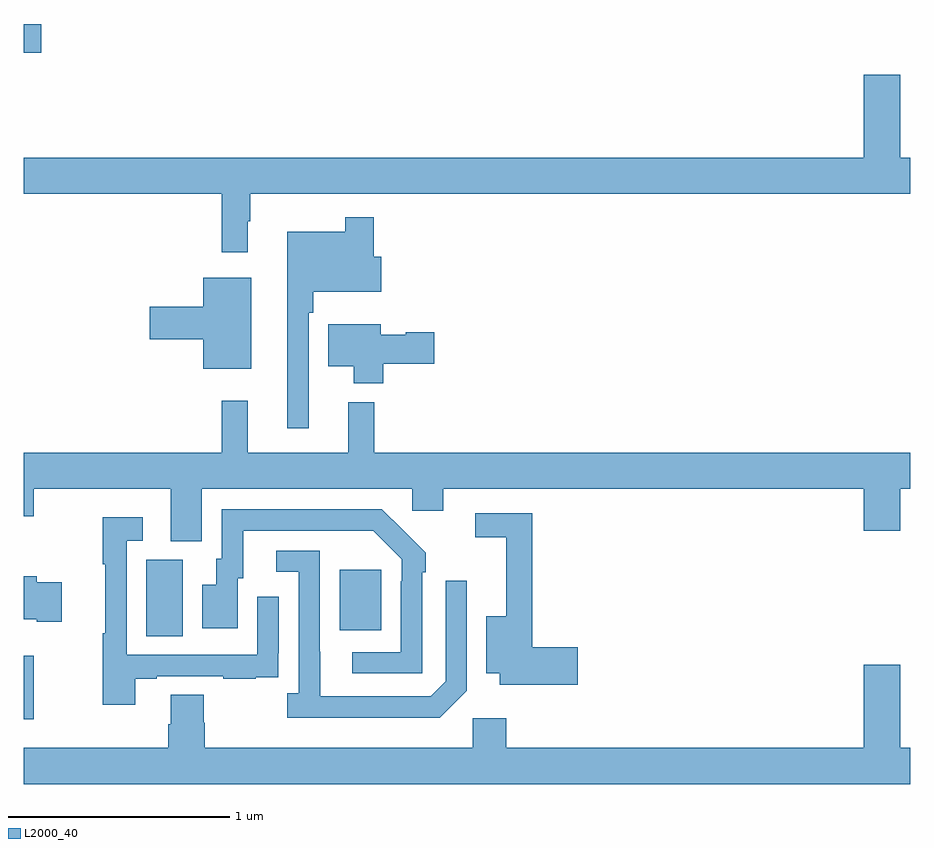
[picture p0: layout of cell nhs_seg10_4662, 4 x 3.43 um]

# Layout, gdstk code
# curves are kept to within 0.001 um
import gdstk
lib = gdstk.Library(unit=1e-6, precision=1e-09)
def R(c, l, rs):  # rectangles x0, y0, x1, y1
    for r in rs: c.add(gdstk.rectangle(r[:2], r[2:], *l))
def P(c, l, *ps):  # polygons
    for p in ps: c.add(gdstk.Polygon(p, *l))
L2000_40 = (2000, 40)

nhs_seg10_4662 = lib.new_cell('nhs_seg10_4662')
R(nhs_seg10_4662, L2000_40, [(377,1319.256,377.043,1319.542), (377.552,1319.632,377.716,1319.976), (378.425,1319.657,378.613,1319.932), (377,1322.266,377.077,1322.395)])
P(nhs_seg10_4662, L2000_40, [(378.01,1321.505),(378.022,1321.505),(378.022,1321.628),(381,1321.628),(381,1321.792),(380.956,1321.792),(380.956,1322.167),(380.792,1322.167),(380.792,1321.792),(377,1321.792),(377,1321.628),(377.893,1321.628),(377.893,1321.365),(378.01,1321.365)],
  [(378.285,1321.091),(378.305,1321.091),(378.305,1321.187),(378.613,1321.187),(378.613,1321.345),(378.578,1321.345),(378.578,1321.522),(378.45,1321.522),(378.45,1321.456),(378.188,1321.456),(378.188,1320.57),(378.285,1320.57)],
  [(378.025,1321.249),(377.81,1321.249),(377.81,1321.118),(377.568,1321.118),(377.568,1320.971),(377.81,1320.971),(377.81,1320.839),(378.025,1320.839)],
  [(378.623,1320.862),(378.853,1320.862),(378.853,1321.004),(378.723,1321.004),(378.723,1320.991),(378.61,1320.991),(378.61,1321.039),(378.374,1321.039),(378.374,1320.851),(378.488,1320.851),(378.488,1320.773),(378.623,1320.773)],
  [(377.803,1320.296),(378.753,1320.296),(378.753,1320.198),(378.892,1320.198),(378.892,1320.296),(380.792,1320.296),(380.792,1320.108),(380.956,1320.108),(380.956,1320.296),(381,1320.296),(381,1320.46),(378.581,1320.46),(378.581,1320.688),(378.464,1320.688),(378.464,1320.46),(378.011,1320.46),(378.011,1320.694),(377.893,1320.694),(377.893,1320.46),(377,1320.46),(377,1320.172),(377.043,1320.172),(377.043,1320.296),(377.663,1320.296),(377.663,1320.061),(377.803,1320.061)],
  [(378.798,1319.921),(378.813,1319.921),(378.813,1320.009),(378.616,1320.204),(377.892,1320.204),(377.892,1319.982),(377.867,1319.982),(377.867,1319.863),(377.804,1319.863),(377.804,1319.667),(377.965,1319.667),(377.965,1319.892),(377.989,1319.892),(377.989,1320.108),(378.577,1320.108),(378.705,1319.979),(378.705,1319.879),(378.702,1319.879),(378.702,1319.559),(378.483,1319.559),(378.483,1319.463),(378.798,1319.463)],
  [(379.501,1319.582),(379.295,1319.582),(379.295,1320.186),(379.038,1320.186),(379.038,1320.078),(379.178,1320.078),(379.178,1319.722),(379.088,1319.722),(379.088,1319.465),(379.148,1319.465),(379.148,1319.411),(379.501,1319.411)],
  [(377.503,1319.439),(377.599,1319.439),(377.599,1319.451),(377.899,1319.451),(377.899,1319.439),(378.047,1319.439),(378.047,1319.445),(378.149,1319.445),(378.149,1319.554),(378.15,1319.554),(378.15,1319.809),(378.054,1319.809),(378.054,1319.547),(377.463,1319.547),(377.463,1320.063),(377.536,1320.063),(377.536,1320.169),(377.355,1320.169),(377.355,1319.956),(377.366,1319.956),(377.366,1319.644),(377.355,1319.644),(377.355,1319.322),(377.503,1319.322)],
  [(378.999,1319.385),(378.999,1319.881),(378.903,1319.881),(378.903,1319.427),(378.837,1319.361),(378.337,1319.361),(378.336,1320.018),(378.138,1320.018),(378.138,1319.922),(378.24,1319.922),(378.24,1319.374),(378.189,1319.374),(378.189,1319.264),(378.878,1319.264)],
  [(377.17,1319.874),(377.058,1319.874),(377.058,1319.902),(377,1319.902),(377,1319.708),(377.057,1319.708),(377.057,1319.696),(377.17,1319.696)],
  [(381,1319.128),(380.956,1319.128),(380.956,1319.503),(380.792,1319.503),(380.792,1319.128),(379.178,1319.128),(379.178,1319.26),(379.026,1319.26),(379.026,1319.128),(377.816,1319.128),(377.816,1319.241),(377.811,1319.241),(377.811,1319.366),(377.663,1319.366),(377.663,1319.234),(377.651,1319.234),(377.651,1319.128),(377,1319.128),(377,1318.964),(381,1318.964)])

lib.write_gds('nhs_seg10_4662.gds')
